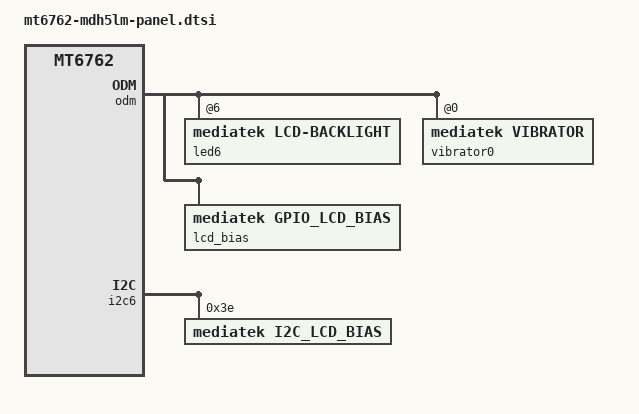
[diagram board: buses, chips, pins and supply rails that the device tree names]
/*
 * LG Electronics MT6765 HDK panel device tree source
 *
 * Copyright (c) 2018 LG Electronics Co., Ltd.
 *              http://www.lge.com
 *
 */

&odm {
	led0:led@0 {
		status = "disabled";
	};
	led1:led@1 {
		status = "disabled";
	};
	led2:led@2 {
		status = "disabled";
	};
	led3:led@3 {
		status = "disabled";
	};
	led4:led@4 {
		status = "disabled";
	};
	led5:led@5 {
		status = "disabled";
	};
	led6:led@6 {
		compatible = "mediatek,lcd-backlight";
		led_mode = <5>;
		data = <1>;
		pwm_config = <0 14 0 0 0>;
		lge.blmap-size = <256>;
		lge.blmap = <
			12 12 12 12 12 12 12 12 12 12 12 12 12 13 13 14
			14 15 15 16 16 17 17 17 18 18 19 19 20 20 21 21
			22 22 23 23 23 24 24 25 25 26 26 27 27 28 28 29
			29 29 30 30 31 31 32 32 33 33 34 34 35 36 38 40
			42 43 45 47 49 50 52 54 56 58 59 61 63 65 66 68
			70 72 73 75 77 79 81 82 84 86 88 89 91 93 95 96
			98 100 102 104 105 107 109 111 112 114 116 118 120 123 126 129
			133 136 139 142 146 149 152 155 159 162 165 168 172 175 178 182
			185 188 191 195 198 201 204 208 211 214 217 221 224 227 231 234
			237 240 244 247 250 253 257 260 263 266 270 273 276 280 284 289
			294 299 304 309 313 318 323 328 333 338 342 347 352 357 362 367
			371 376 381 386 391 396 400 405 410 415 420 425 429 434 439 444
			449 454 458 463 468 473 478 483 487 492 497 502 507 512 517 524
			531 538 546 553 560 568 575 582 590 597 604 611 619 626 633 641
			648 655 663 670 677 685 692 699 706 714 721 728 736 743 750 758
			765 772 780 787 794 801 809 816 823 831 838 845 853 860 867 875
		>;
		lge.pwm_default_brightness = <678>;
	};
	vibrator0:vibrator@0 {
		compatible = "mediatek,vibrator";
		vib_timer = <25>;
		vib_limit = <9>;
		vib_vol= <9>;
	};
};

&i2c6 {
	i2c_lcd_bias@3e {
		compatible = "mediatek,i2c_lcd_bias";
		reg = <0x3e>;
		status = "okay";
	};
};

&odm {
	lcd_bias {
		compatible = "mediatek,gpio_lcd_bias";
		status = "okay";
		/* touch-reset-gpio = <&pio 164 0x00>; */
		pinctrl-names = "default",
				"lcd_bias_gpio_lcm_rst0", "lcd_bias_gpio_lcm_rst1",
				"lcd_bias_gpio_vpos_en0", "lcd_bias_gpio_vpos_en1",
				"lcd_bias_gpio_vneg_en0", "lcd_bias_gpio_vneg_en1",
				"lcd_bias_lcd_ldo_en0", "lcd_bias_lcd_ldo_en1";
		pinctrl-0 = <&lcd_bias_pins_default>;
		pinctrl-1 = <&lcd_bias_pins_lcm_rst0>;
		pinctrl-2 = <&lcd_bias_pins_lcm_rst1>;
		pinctrl-3 = <&lcd_bias_pins_vpos_en0>;
		pinctrl-4 = <&lcd_bias_pins_vpos_en1>;
		pinctrl-5 = <&lcd_bias_pins_vneg_en0>;
		pinctrl-6 = <&lcd_bias_pins_vneg_en1>;
		pinctrl-7 = <&lcd_bias_pins_lcd_ldo_en0>;
		pinctrl-8 = <&lcd_bias_pins_lcd_ldo_en1>;
	};
};

&pio {
	lcd_bias_pins_default: lcd_bias_gpio_default {
	};
	lcd_bias_pins_lcm_rst0: lcd_bias_gpio_lcm_rst0 {
		pins_cmd_dat {
			pinmux = <PINMUX_GPIO45__FUNC_GPIO45>;
			slew-rate = <1>;
			output-low;
		};
	};

	lcd_bias_pins_lcm_rst1: lcd_bias_gpio_lcm_rst1 {
		pins_cmd_dat {
			pinmux = <PINMUX_GPIO45__FUNC_GPIO45>;
			slew-rate = <1>;
			output-high;
		};
	};

	lcd_bias_pins_vpos_en0: lcd_bias_gpio_vpos_en0 {
		pins_cmd_dat {
			pinmux = <PINMUX_GPIO16__FUNC_GPIO16>;
			slew-rate = <1>;
			output-low;
		};
	};

	lcd_bias_pins_vpos_en1: lcd_bias_gpio_vpos_en1 {
		pins_cmd_dat {
			pinmux = <PINMUX_GPIO16__FUNC_GPIO16>;
			slew-rate = <1>;
			output-high;
		};
	};

	lcd_bias_pins_vneg_en0: lcd_bias_gpio_vneg_en0 {
		pins_cmd_dat {
			pinmux = <PINMUX_GPIO14__FUNC_GPIO14>;
			slew-rate = <1>;
			output-low;
		};
	};

	lcd_bias_pins_vneg_en1: lcd_bias_gpio_vneg_en1 {
		pins_cmd_dat {
			pinmux = <PINMUX_GPIO14__FUNC_GPIO14>;
			slew-rate = <1>;
			output-high;
		};
	};

	lcd_bias_pins_lcd_ldo_en0: lcd_bias_lcd_ldo_en0 {
		pins_cmd_dat {
			pinmux = <PINMUX_GPIO15__FUNC_GPIO15>;
			slew-rate = <1>;
			output-low;
		};
	};

	lcd_bias_pins_lcd_ldo_en1: lcd_bias_lcd_ldo_en1 {
		pins_cmd_dat {
			pinmux = <PINMUX_GPIO15__FUNC_GPIO15>;
			slew-rate = <1>;
			output-high;
		};
	};
};

&mt6370_pmu {
	bled {
		/* mt,ext_en_pin; */
		mt,chan_en  = <0xf>; /* bit 0 1 2 3 -> chan 1 2 3 4 */
		mt,map_linear;
		mt,bl_ovp_level = <3>;	/* 0: 17v */
					/* 1: 21v */
					/* 2: 25v */
					/* 3: 29v */
		mt,bl_ocp_level = <2>;	/* 0: 900mA */
					/* 1: 1200mA */
					/* 2: 1500mA */
					/* 3: 1800mA */
		mt,use_pwm;
		mt,pwm_fsample = <2>;	/* 0: 1MHz */
					/* 1: 4MHz */
					/* 2: or 3: 24mHz */
		mt,pwm_deglitch = <1>;	/* 0: no filter */
					/* 1: 100ns */
					/* 2: 160ns */
					/* 3: 200ns */
		mt,pwm_avg_cycle = <0>; /* 0: disable avg */
					/* 1: avg 2 cycle */
					/* 2: avg 4 cycle */
					/* 3: avg 8 cycle */
					/* 4: avg 16 cycle */
					/* 5: avg 32 cycle */
		mt,bled_ramptime = <3>; /* 0, 500us, 750us, 1ms, 2ms */
					/* 5ms, 10ms, 20ms, 50ms */
					/* 100ms, 250ms, 800ms */
					/* 1s, 2s, 4s, 8s */
		mt,bled_flash_ramp = <1>;	/* 0, 500us, 750us */
						/* 1ms, 2ms, 5ms */

		/* we have 11 bit resolution, quantize in driver */
		mt,max_bled_brightness = <678>; /* maximum 2047 */
	};
	dsv {
		db_ext_en = <0>;  /* 0 = i2c ctrl; 1 = ext pin */

		/* 1 = prevent from voltage drop when db is restart */
		db_periodic_fix = <0>;

		/* 0 : VOS & VNEG are ctrled by DB_ENP & DB_ENN*/
		/* 1 : single pin ctrl*/
		db_single_pin = <0>;

		/* 0 = 20Hz */
		/* 1 = 33Hz; valid if db_period_mode = 1 */
		db_freq_pm = <0>;

		/* 0 = always on if DB is enabled */
		/* 1 = DB period mode */
		db_periodic_mode = <0>;

		/* 0 = close loop, wait 80% */
		/* 1 = open loop, go after soft-start dimming */
		db_startup = <0>;

		/* 1 = DB VNEG discharge 20ms when shutdown */
		/* 0 = disable */
		db_vneg_20ms = <0>;

		/* 1 = Discharge VNEG when turn off */
		/* 0 = disable */
		db_vneg_disc = <1>;

		/* 1 = DB VPOS discharge 20ms when shutdown */
		/* 0 = disable */
		db_vpos_20ms = <0>;

		/* 1 = Discharge VPOS when turn off */
		/* 0 = disable */
		db_vpos_disc = <1>;

		db_delay = <1>;	/* 0 = no constraint */
				/* 1 = 0 ms */
				/* 2 = 1 ms */
				/* 3 = 4 ms */
		db_vbst  = <6000>;      /* mV */
		db_vpos_slew = <1>;	/* 0: 8.46 V/ms */
					/* 1: 5.79 V/ms */
					/* 2: 3.87 V/ms */
					/* 3: 2.97 V/ms */
		db_vneg_slew = <1>;	/* 0: -9.24V/ms */
					/* 1: -5.97V/ms */
					/* 2: -4.82V/ms */
					/* 3: -3.07V/ms */
		mt6370_dsvp {
			/* change name by yourself */
			regulator-name = "dsv_pos";

			regulator-min-microvolt = <4000000>;

			/* max == min then apply_uV = 1 */
			regulator-max-microvolt = <6000000>;

			/* optional*/
			/* regulator-microvolt-offset = <0>; */

			/* optional, exist = enabled */
			/* regulator-boot-on = "yes"; */

			/* optional, exist = enabled */
			/* regulator-always-on = "yes"; */

			/* optional */
			/* regulator-ramp-delay = <100>; */
		};
		mt6370_dsvn {
			/* change name by yourself */
			regulator-name = "dsv_neg";

			regulator-min-microvolt = <4000000>;

			/* max == min then apply_uV = 1 */
			regulator-max-microvolt = <6000000>;

			/* optional*/
			/* regulator-microvolt-offset = <0> */

			/* optional, exist = enabled */
			/* regulator-boot-on = "yes"; */

			/* optional, exist = enabled */
			/* regulator-always-on = "yes"; */

			/* regulator-ramp-delay = <100>; */
		};
	};
};
